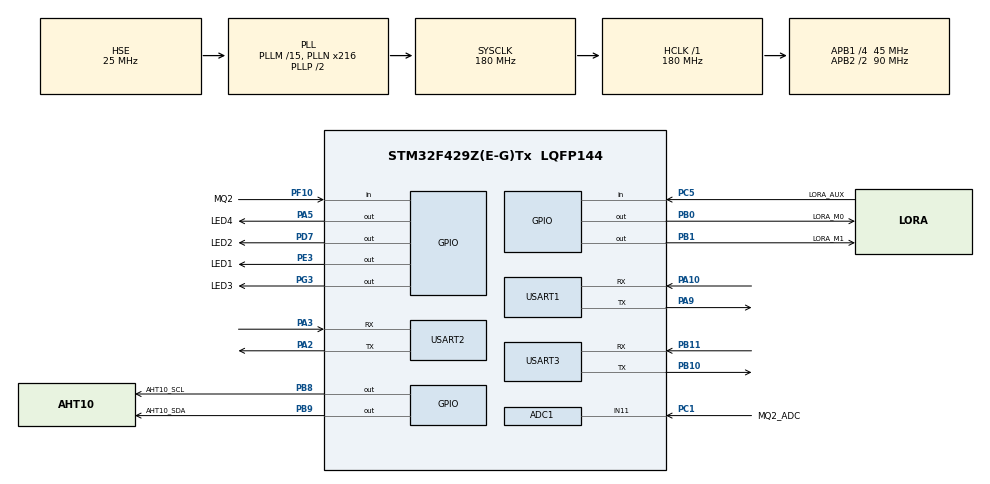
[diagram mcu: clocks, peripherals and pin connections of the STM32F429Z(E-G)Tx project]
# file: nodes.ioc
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ADC1.Channel-0\#ChannelRegularConversion=ADC_CHANNEL_11
ADC1.ContinuousConvMode=ENABLE
ADC1.NbrOfConversionFlag=1
ADC1.Rank-0\#ChannelRegularConversion=1
ADC1.SamplingTime-0\#ChannelRegularConversion=ADC_SAMPLETIME_3CYCLES
ADC1.master=1
Dma.ADC1.0.Direction=DMA_PERIPH_TO_MEMORY
Dma.ADC1.0.FIFOMode=DMA_FIFOMODE_DISABLE
Dma.ADC1.0.Instance=DMA2_Stream0
Dma.ADC1.0.MemDataAlignment=DMA_MDATAALIGN_HALFWORD
Dma.ADC1.0.MemInc=DMA_MINC_ENABLE
Dma.ADC1.0.Mode=DMA_NORMAL
Dma.ADC1.0.PeriphDataAlignment=DMA_PDATAALIGN_HALFWORD
Dma.ADC1.0.PeriphInc=DMA_PINC_DISABLE
Dma.ADC1.0.Priority=DMA_PRIORITY_LOW
Dma.Request0=ADC1
Mcu.Family=STM32F4
Mcu.Name=STM32F429Z(E-G)Tx
Mcu.Package=LQFP144
NVIC.DMA2_Stream0_IRQn=true\:0\:0\:false\:false\:true\:false\:true\:true
NVIC.PriorityGroup=NVIC_PRIORITYGROUP_4
PA10.Mode=Asynchronous
PA10.Signal=USART1_RX
PA13.Mode=Serial_Wire
PA13.Signal=SYS_JTMS-SWDIO
PA14.Mode=Serial_Wire
PA14.Signal=SYS_JTCK-SWCLK
PA2.Mode=Asynchronous
PA2.Signal=USART2_TX
PA3.Mode=Asynchronous
PA3.Signal=USART2_RX
PA5.GPIO_Label=LED4
PA5.Signal=GPIO_Output
PA9.Mode=Asynchronous
PA9.Signal=USART1_TX
PB0.GPIO_Label=LORA_M0
PB0.Signal=GPIO_Output
PB1.GPIO_Label=LORA_M1
PB1.Signal=GPIO_Output
PB10.Mode=Asynchronous
PB10.Signal=USART3_TX
PB11.Mode=Asynchronous
PB11.Signal=USART3_RX
PB8.GPIO_Label=AHT10_SCL
PB8.Signal=GPIO_Output
PB9.GPIO_Label=AHT10_SDA
PB9.Signal=GPIO_Output
PC1.GPIO_Label=MQ2_ADC
PC1.Signal=ADCx_IN11
PC5.GPIO_Label=LORA_AUX
PC5.Signal=GPIO_Input
PD7.GPIO_Label=LED2
PD7.Signal=GPIO_Output
PE3.GPIO_Label=LED1
PE3.Signal=GPIO_Output
PF10.GPIO_Label=MQ2
PF10.Signal=GPIO_Input
PG3.GPIO_Label=LED3
PG3.Signal=GPIO_Output
PH0/OSC_IN.Mode=HSE-External-Oscillator
PH0/OSC_IN.Signal=RCC_OSC_IN
PH1/OSC_OUT.Mode=HSE-External-Oscillator
PH1/OSC_OUT.Signal=RCC_OSC_OUT
ProjectManager.HeapSize=0x200
ProjectManager.StackSize=0x400
ProjectManager.TargetToolchain=STM32CubeIDE
RCC.48MHZClocksFreq_Value=90000000
RCC.AHBFreq_Value=180000000
RCC.APB1CLKDivider=RCC_HCLK_DIV4
RCC.APB1Freq_Value=45000000
RCC.APB1TimFreq_Value=90000000
RCC.APB2CLKDivider=RCC_HCLK_DIV2
RCC.APB2Freq_Value=90000000
RCC.APB2TimFreq_Value=180000000
RCC.CortexFreq_Value=180000000
RCC.HCLKFreq_Value=180000000
RCC.HSE_VALUE=25000000
RCC.HSI_VALUE=16000000
RCC.LSE_VALUE=32768
RCC.PLLM=15
RCC.PLLN=216
RCC.PLLSourceVirtual=RCC_PLLSOURCE_HSE
RCC.SYSCLKFreq_VALUE=180000000
RCC.SYSCLKSource=RCC_SYSCLKSOURCE_PLLCLK
RCC.VCOOutputFreq_Value=360000000
SH.ADCx_IN11.0=ADC1_IN11,IN11
USART1.VirtualMode=VM_ASYNC
USART2.VirtualMode=VM_ASYNC
USART3.VirtualMode=VM_ASYNC
board=custom

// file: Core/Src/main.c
/* USER CODE BEGIN Header */
/**
  ******************************************************************************
  * @file           : main.c
  * @brief          : Main program body
  ******************************************************************************
  * @attention
  *
  * Copyright (c) 2025 STMicroelectronics.
  * All rights reserved.
  *
  * This software is licensed under terms that can be found in the LICENSE file
  * in the root directory of this software component.
  * If no LICENSE file comes with this software, it is provided AS-IS.
  *
  ******************************************************************************
  */
/* USER CODE END Header */
#include "main.h"
#include "adc.h"
#include "dma.h"
#include "usart.h"
#include "gpio.h"

/* USER CODE BEGIN Includes */
#include <stdio.h>
#include <string.h>
#include "sensors/aht10.h"
#include "sensors/mq2.h"
#include "lora/lora.h"
/* USER CODE END Includes */

/* USER CODE BEGIN PV */
aht10_info_t aht10_info;
mq2_info_t mq2_info;
// unique_id address
static uint32_t *id_addr = (uint32_t *) 0x1FFF7A10;
// device1,2,3 unique id
uint32_t device_id[3] = {892499600, 892478838, 892497552};
/* USER CODE END PV */

void SystemClock_Config(void);
/* USER CODE BEGIN PFP */
#ifdef __GNUC__
#define PUTCHAR_PROTOTYPE int __io_putchar(int ch)
#else
#define PUTCHAR_PROTOTYPE int fputc(int ch, FILE *f)
#endif
/* USER CODE END PFP */

int main(void)
{

  /* MCU Configuration--------------------------------------------------------*/

  /* Reset of all peripherals, Initializes the Flash interface and the Systick. */
  HAL_Init();

  /* Configure the system clock */
  SystemClock_Config();

  /* Initialize all configured peripherals */
  MX_GPIO_Init();
  MX_DMA_Init();
  MX_ADC1_Init();
  MX_USART1_UART_Init();
  MX_USART2_UART_Init();
  MX_USART3_UART_Init();
  /* USER CODE BEGIN 2 */
  if (*id_addr == device_id[1]) {
    HAL_GPIO_WritePin(LED2_GPIO_Port, LED2_Pin, GPIO_PIN_SET);
  } else if (*id_addr == device_id[2]) {
    HAL_GPIO_WritePin(LED3_GPIO_Port, LED3_Pin, GPIO_PIN_SET);
  }
  /* USER CODE END 2 */

  /* Infinite loop */
  /* USER CODE BEGIN WHILE */
  while (1)
  {
    if (*id_addr == device_id[1]) {
      mq2_info = mq2_read();
      lora_send_to_gateway(SMOKE_LORA_ADDR, mq2_info.smoke_dense);
      HAL_Delay(700);
    } else if (*id_addr == device_id[2]) {
      aht10_info = aht10_read();
      lora_send_to_gateway(TEMPER_LORA_ADDR, aht10_info.temperature);
      HAL_Delay(500);
      lora_send_to_gateway(HUMIDITY_LORA_ADDR, aht10_info.humidity);
      HAL_Delay(500);
    }
    /* USER CODE END WHILE */

  }
}

void SystemClock_Config(void)
{
  RCC_OscInitTypeDef RCC_OscInitStruct = {0};
  RCC_ClkInitTypeDef RCC_ClkInitStruct = {0};

  /** Configure the main internal regulator output voltage
  */
  __HAL_RCC_PWR_CLK_ENABLE();
  __HAL_PWR_VOLTAGESCALING_CONFIG(PWR_REGULATOR_VOLTAGE_SCALE1);

  /** Initializes the RCC Oscillators according to the specified parameters
  * in the RCC_OscInitTypeDef structure.
  */
  RCC_OscInitStruct.OscillatorType = RCC_OSCILLATORTYPE_HSE;
  RCC_OscInitStruct.HSEState = RCC_HSE_ON;
  RCC_OscInitStruct.PLL.PLLState = RCC_PLL_ON;
  RCC_OscInitStruct.PLL.PLLSource = RCC_PLLSOURCE_HSE;
  RCC_OscInitStruct.PLL.PLLM = 15;
  RCC_OscInitStruct.PLL.PLLN = 216;
  RCC_OscInitStruct.PLL.PLLP = RCC_PLLP_DIV2;
  RCC_OscInitStruct.PLL.PLLQ = 4;
  if (HAL_RCC_OscConfig(&RCC_OscInitStruct) != HAL_OK)
  {
    Error_Handler();
  }

  /** Activate the Over-Drive mode
  */
  if (HAL_PWREx_EnableOverDrive() != HAL_OK)
  {
    Error_Handler();
  }

  /** Initializes the CPU, AHB and APB buses clocks
  */
  RCC_ClkInitStruct.ClockType = RCC_CLOCKTYPE_HCLK|RCC_CLOCKTYPE_SYSCLK
                              |RCC_CLOCKTYPE_PCLK1|RCC_CLOCKTYPE_PCLK2;
  RCC_ClkInitStruct.SYSCLKSource = RCC_SYSCLKSOURCE_PLLCLK;
  RCC_ClkInitStruct.AHBCLKDivider = RCC_SYSCLK_DIV1;
  RCC_ClkInitStruct.APB1CLKDivider = RCC_HCLK_DIV4;
  RCC_ClkInitStruct.APB2CLKDivider = RCC_HCLK_DIV2;

  if (HAL_RCC_ClockConfig(&RCC_ClkInitStruct, FLASH_LATENCY_5) != HAL_OK)
  {
    Error_Handler();
  }
}

/* USER CODE BEGIN 4 */
PUTCHAR_PROTOTYPE
{
  HAL_UART_Transmit(&huart1, (uint8_t *) &ch, 1, 0xFFFF);
  return ch;
}
/* USER CODE END 4 */

void Error_Handler(void)
{
  __disable_irq();
  while (1)
  {
  }
}
